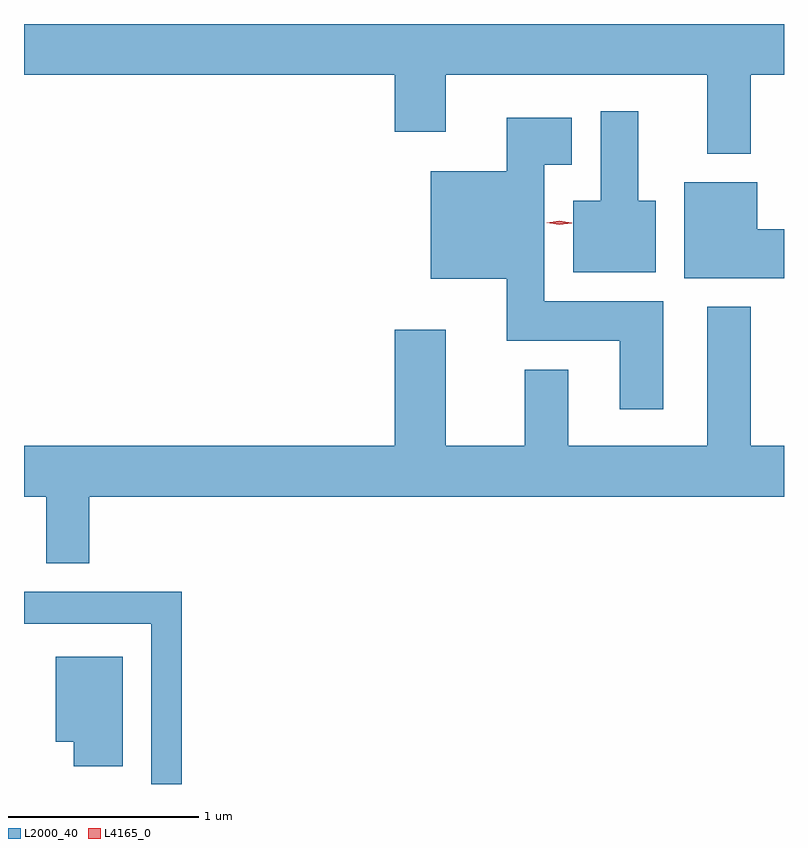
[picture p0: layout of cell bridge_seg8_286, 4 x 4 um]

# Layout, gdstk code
import gdstk
lib = gdstk.Library(unit=1e-6, precision=1e-09)
def P(c, l, *ps):  # polygons
    for p in ps: c.add(gdstk.Polygon(p, *l))
L2000_40 = (2000, 40)
L4165_0 = (4165, 0)

bridge_seg8_286 = lib.new_cell('bridge_seg8_286')
P(bridge_seg8_286, L2000_40, [(1395.769,1814.216),(1395.945,1814.216),(1395.945,1814.483),(1391.945,1814.483),(1391.945,1814.216),(1393.896,1814.216),(1393.896,1813.916),(1394.164,1813.916),(1394.164,1814.216),(1395.541,1814.216),(1395.541,1813.801),(1395.769,1813.801)],
  [(1395.269,1813.554),(1395.179,1813.554),(1395.179,1814.024),(1394.981,1814.024),(1394.981,1813.554),(1394.836,1813.554),(1394.836,1813.176),(1395.269,1813.176)],
  [(1395.309,1813.024),(1394.684,1813.024),(1394.684,1813.741),(1394.829,1813.741),(1394.829,1813.989),(1394.486,1813.989),(1394.486,1813.709),(1394.086,1813.709),(1394.086,1813.141),(1394.486,1813.141),(1394.486,1812.816),(1395.081,1812.816),(1395.081,1812.456),(1395.309,1812.456)],
  [(1395.945,1813.404),(1395.804,1813.404),(1395.804,1813.649),(1395.421,1813.649),(1395.421,1813.146),(1395.945,1813.146)],
  [(1392.289,1811.996),(1395.945,1811.996),(1395.945,1812.264),(1395.769,1812.264),(1395.769,1812.994),(1395.541,1812.994),(1395.541,1812.264),(1394.809,1812.264),(1394.809,1812.664),(1394.581,1812.664),(1394.581,1812.264),(1394.164,1812.264),(1394.164,1812.874),(1393.896,1812.874),(1393.896,1812.264),(1391.945,1812.264),(1391.945,1811.996),(1392.061,1811.996),(1392.061,1811.646),(1392.289,1811.646)],
  [(1392.774,1811.494),(1391.945,1811.494),(1391.945,1811.326),(1392.616,1811.326),(1392.616,1810.483),(1392.774,1810.483)],
  [(1392.464,1811.154),(1392.111,1811.154),(1392.111,1810.706),(1392.206,1810.706),(1392.206,1810.576),(1392.464,1810.576)])
P(bridge_seg8_286, L4165_0, [(1394.762,1813.427),(1394.696,1813.437),(1394.696,1813.438),(1394.696,1813.438),(1394.762,1813.447),(1394.828,1813.436),(1394.828,1813.436),(1394.828,1813.435)])

lib.write_gds('bridge_seg8_286.gds')
